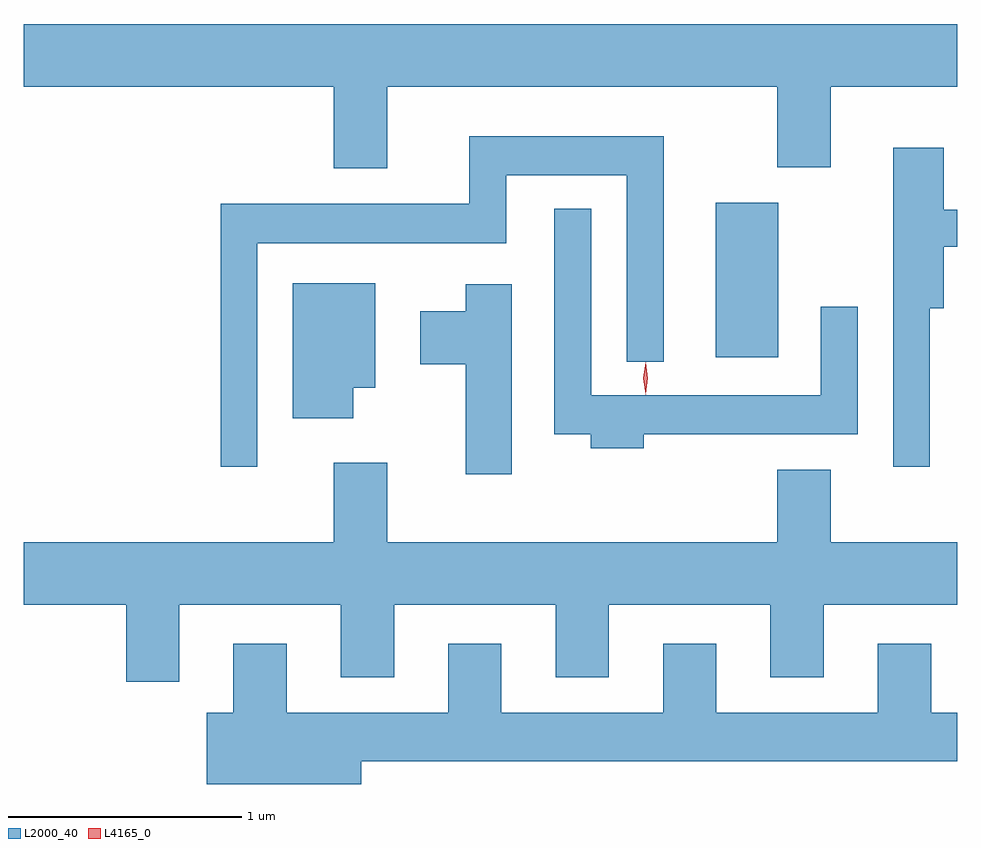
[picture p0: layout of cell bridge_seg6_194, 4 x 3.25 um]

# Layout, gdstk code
import gdstk
lib = gdstk.Library(unit=1e-6, precision=1e-09)
def R(c, l, rs):  # rectangles x0, y0, x1, y1
    for r in rs: c.add(gdstk.rectangle(r[:2], r[2:], *l))
def P(c, l, *ps):  # polygons
    for p in ps: c.add(gdstk.Polygon(p, *l))
L2000_40 = (2000, 40)
L4165_0 = (4165, 0)

bridge_seg6_194 = lib.new_cell('bridge_seg6_194')
R(bridge_seg6_194, L2000_40, [(1046.276,1579.956,1046.544,1580.619)])
P(bridge_seg6_194, L2000_40, [(1044.869,1581.116),(1046.541,1581.116),(1046.541,1580.771),(1046.769,1580.771),(1046.769,1581.116),(1047.312,1581.116),(1047.312,1581.384),(1043.312,1581.384),(1043.312,1581.116),(1044.641,1581.116),(1044.641,1580.766),(1044.869,1580.766)],
  [(1044.314,1580.446),(1045.379,1580.446),(1045.379,1580.736),(1045.896,1580.736),(1045.896,1579.938),(1046.054,1579.938),(1046.054,1580.904),(1045.221,1580.904),(1045.221,1580.614),(1044.156,1580.614),(1044.156,1579.488),(1044.314,1579.488)],
  [(1047.194,1580.166),(1047.254,1580.166),(1047.254,1580.431),(1047.312,1580.431),(1047.312,1580.589),(1047.254,1580.589),(1047.254,1580.854),(1047.036,1580.854),(1047.036,1579.488),(1047.194,1579.488)],
  [(1045.969,1579.626),(1046.884,1579.626),(1046.884,1580.173),(1046.726,1580.173),(1046.726,1579.794),(1045.744,1579.794),(1045.744,1580.593),(1045.586,1580.593),(1045.586,1579.626),(1045.741,1579.626),(1045.741,1579.566),(1045.969,1579.566)],
  [(1044.724,1579.826),(1044.819,1579.826),(1044.819,1580.274),(1044.466,1580.274),(1044.466,1579.696),(1044.724,1579.696)],
  [(1045.404,1580.269),(1045.206,1580.269),(1045.206,1580.154),(1045.011,1580.154),(1045.011,1579.926),(1045.206,1579.926),(1045.206,1579.456),(1045.404,1579.456)],
  [(1044.869,1579.504),(1044.641,1579.504),(1044.641,1579.164),(1043.312,1579.164),(1043.312,1578.896),(1043.751,1578.896),(1043.751,1578.566),(1043.979,1578.566),(1043.979,1578.896),(1044.671,1578.896),(1044.671,1578.586),(1044.899,1578.586),(1044.899,1578.896),(1045.591,1578.896),(1045.591,1578.586),(1045.819,1578.586),(1045.819,1578.896),(1046.511,1578.896),(1046.511,1578.586),(1046.739,1578.586),(1046.739,1578.896),(1047.312,1578.896),(1047.312,1579.164),(1046.769,1579.164),(1046.769,1579.474),(1046.541,1579.474),(1046.541,1579.164),(1044.869,1579.164)],
  [(1044.759,1578.226),(1047.312,1578.226),(1047.312,1578.434),(1047.199,1578.434),(1047.199,1578.729),(1046.971,1578.729),(1046.971,1578.434),(1046.279,1578.434),(1046.279,1578.729),(1046.051,1578.729),(1046.051,1578.434),(1045.359,1578.434),(1045.359,1578.729),(1045.131,1578.729),(1045.131,1578.434),(1044.439,1578.434),(1044.439,1578.729),(1044.211,1578.729),(1044.211,1578.434),(1044.096,1578.434),(1044.096,1578.129),(1044.759,1578.129)])
P(bridge_seg6_194, L4165_0, [(1045.976,1579.797),(1045.976,1579.798),(1045.966,1579.867),(1045.976,1579.936),(1045.976,1579.936),(1045.977,1579.936),(1045.986,1579.867),(1045.977,1579.798)],
  [(1045.976,1579.8),(1045.976,1579.8),(1045.966,1579.866),(1045.976,1579.932),(1045.976,1579.933),(1045.977,1579.932),(1045.986,1579.866),(1045.977,1579.8)])

lib.write_gds('bridge_seg6_194.gds')
